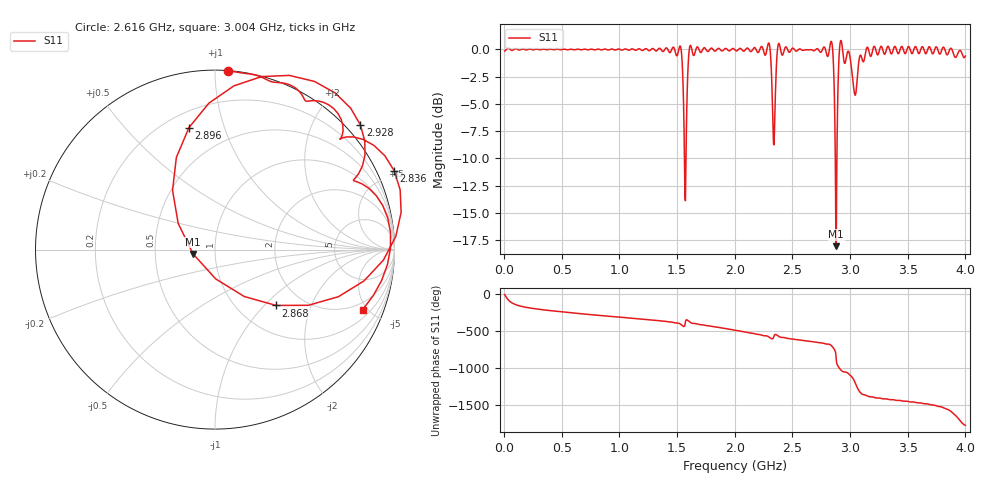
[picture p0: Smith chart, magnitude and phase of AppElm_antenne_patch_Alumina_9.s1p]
! TOUCHSTONE file generated by CST MICROWAVE STUDIO
! Date and time: Thu Jun  9 14:52:41 2022
! Project name: AppElm_antenne_patch_Alumina.cst
! Parameters = {L=30.5; W=41.8; e=0.035; h=1.6; lambda=0.190476; ls=90; w0=1.12; w1=0.373; ws=90; y0=16.1; y1=10}
! Header version: 2018
! Port assignment regex: !\s*Touchstone port\s*([0-9]+)\s*=\s*(CST MWS port|CST DS port)\s*([0-9]+|Zmin|Zmax)\s*\(\"(.*)\"\)(\s*mode\s*([0-9]+))?.*
! Touchstone port assignment:
! Touchstone port 1 = CST MWS port 1 ("")
# GHz S MA R 50
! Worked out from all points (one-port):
!   1000 points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, 4 MHz to 4 GHz, reference 50 ohm
!   lowest |S11| = -18.1 dB at 2.88 GHz (marker M1), VSWR 1.29, Z = 39 - j1.87 ohm
!   |S11| at or under -10 dB: 1.564 GHz to 1.577 GHz (13.27 MHz wide, 0.845 % of centre); 2.871738 GHz to 2.885911 GHz (14.17 MHz wide, 0.492 % of centre)
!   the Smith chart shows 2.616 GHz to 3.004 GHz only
!   S11 on the Smith chart (normalised r, x): 2.616 GHz: 0.00, +1.08; 2.836 GHz: -0.98, +4.55; 2.868 GHz: 1.48, -1.17; 2.896 GHz: 0.29, +0.77; 2.928 GHz: -0.27, +2.68; 3.004 GHz: 1.47, -4.67
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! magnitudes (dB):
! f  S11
! 4 MHz  -0.1
! 504 MHz  0.0
! 1.004 GHz  0.0
! 1.504 GHz  -0.5
! 1.532 GHz  0.2
! 1.556 GHz  -5.1
! 1.572 GHz  -13.9
! 1.584 GHz  -5.4
! 1.604 GHz  -0.1
! 1.62 GHz  0.3
! 2.004 GHz  -0.1
! 2.292 GHz  0.6
! 2.34 GHz  -8.8
! 2.38 GHz  0.5
! 2.504 GHz  0.1
! 2.616 GHz  0.0
! 2.836 GHz  0.8
! 2.848 GHz  0.1
! 2.868 GHz  -6.7
! 2.88 GHz  -18.1
! 2.896 GHz  -3.2
! 2.912 GHz  0.5
! 2.928 GHz  0.6
! 3.004 GHz  -1.0
! 3.044 GHz  -4.2
! 3.148 GHz  0.2
! 3.504 GHz  0.3
! 4 GHz  -0.6
